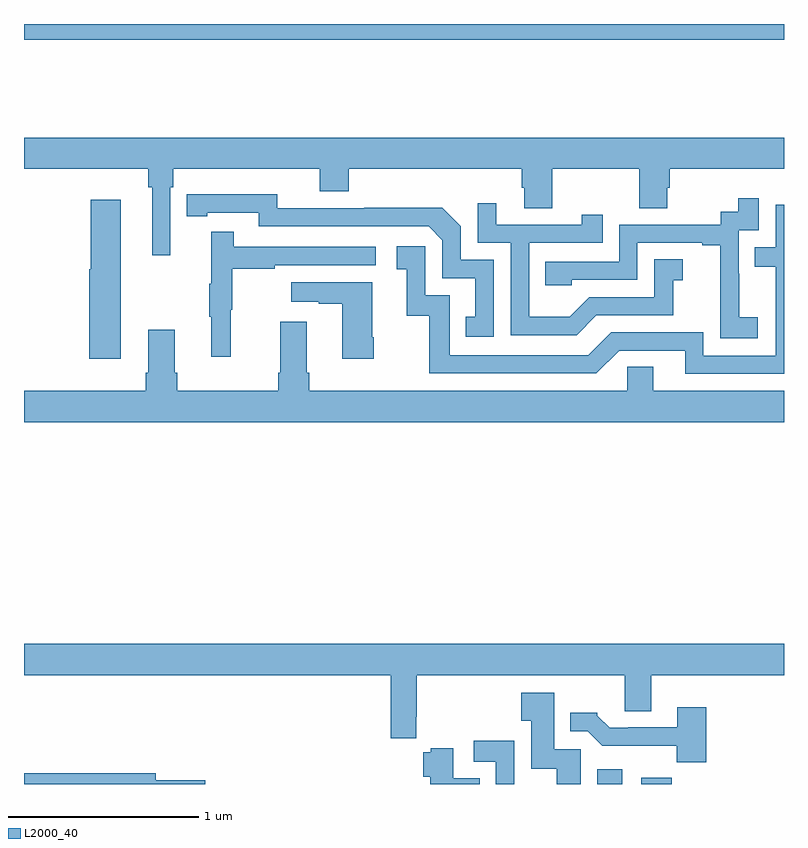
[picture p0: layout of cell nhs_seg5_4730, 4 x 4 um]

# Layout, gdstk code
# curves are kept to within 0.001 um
import gdstk
lib = gdstk.Library(unit=1e-6, precision=1e-09)
def R(c, l, rs):  # rectangles x0, y0, x1, y1
    for r in rs: c.add(gdstk.rectangle(r[:2], r[2:], *l))
def P(c, l, *ps):  # polygons
    for p in ps: c.add(gdstk.Polygon(p, *l))
L2000_40 = (2000, 40)

nhs_seg5_4730 = lib.new_cell('nhs_seg5_4730')
R(nhs_seg5_4730, L2000_40, [(390.017,910.799,390.148,910.876), (390.248,910.799,390.41,910.831), (387,914.716,391,914.799)])
P(nhs_seg5_4730, L2000_40, [(387.771,913.94),(387.785,913.94),(387.785,914.036),(388.556,914.036),(388.556,913.919),(388.709,913.919),(388.709,914.036),(389.621,914.036),(389.621,913.938),(389.633,913.938),(389.633,913.828),(389.781,913.828),(389.781,914.036),(390.238,914.036),(390.238,913.828),(390.385,913.828),(390.385,913.938),(390.398,913.938),(390.398,914.036),(391,914.036),(391,914.2),(387,914.2),(387,914.036),(387.655,914.036),(387.655,913.94),(387.674,913.94),(387.674,913.581),(387.771,913.581)],
  [(389.472,913.557),(389.298,913.557),(389.298,913.734),(389.2,913.832),(388.792,913.832),(388.792,913.83),(388.332,913.83),(388.332,913.903),(387.856,913.902),(387.856,913.786),(387.964,913.786),(387.964,913.806),(388.236,913.806),(388.236,913.734),(389.13,913.734),(389.202,913.662),(389.202,913.461),(389.375,913.461),(389.375,913.257),(389.326,913.257),(389.326,913.152),(389.472,913.152)],
  [(390.862,913.255),(390.764,913.255),(390.764,913.484),(390.762,913.484),(390.762,913.713),(390.867,913.713),(390.867,913.882),(390.759,913.882),(390.759,913.812),(390.666,913.812),(390.666,913.743),(390.132,913.743),(390.132,913.548),(389.743,913.548),(389.743,913.425),(389.883,913.425),(389.883,913.452),(390.228,913.452),(390.228,913.647),(390.569,913.647),(390.569,913.635),(390.665,913.635),(390.665,913.351),(390.664,913.351),(390.664,913.145),(390.862,913.145)],
  [(387.508,913.873),(387.35,913.873),(387.35,913.509),(387.344,913.509),(387.344,913.038),(387.508,913.038)],
  [(390.013,913.266),(390.417,913.266),(390.417,913.451),(390.466,913.451),(390.466,913.561),(390.318,913.561),(390.318,913.362),(389.976,913.362),(389.872,913.258),(389.658,913.258),(389.658,913.647),(390.047,913.647),(390.047,913.795),(389.936,913.795),(389.936,913.743),(389.485,913.743),(389.485,913.855),(389.388,913.855),(389.388,913.647),(389.562,913.647),(389.562,913.161),(389.908,913.161)],
  [(391,913.848),(390.957,913.848),(390.957,913.623),(390.847,913.623),(390.847,913.522),(390.957,913.522),(390.957,913.053),(390.576,913.053),(390.576,913.176),(390.09,913.176),(389.97,913.056),(389.241,913.056),(389.241,913.371),(389.112,913.371),(389.112,913.63),(388.962,913.63),(388.962,913.509),(389.015,913.509),(389.015,913.263),(389.133,913.263),(389.133,912.96),(390.012,912.96),(390.132,913.08),(390.479,913.08),(390.479,912.957),(391,912.957)],
  [(388.088,913.296),(388.096,913.296),(388.096,913.51),(388.319,913.51),(388.319,913.53),(388.852,913.53),(388.852,913.626),(388.103,913.626),(388.103,913.705),(387.986,913.705),(387.986,913.433),(387.975,913.433),(387.975,913.259),(387.986,913.259),(387.986,913.047),(388.088,913.047)],
  [(388.842,913.15),(388.834,913.15),(388.834,913.441),(388.407,913.441),(388.407,913.337),(388.55,913.337),(388.55,913.327),(388.676,913.327),(388.676,913.038),(388.842,913.038)],
  [(391,912.868),(390.313,912.868),(390.313,912.995),(390.174,912.995),(390.174,912.868),(388.502,912.868),(388.502,912.964),(388.489,912.964),(388.489,913.231),(388.349,913.231),(388.349,912.964),(388.337,912.964),(388.337,912.868),(387.806,912.868),(387.806,912.964),(387.793,912.964),(387.793,913.189),(387.653,913.189),(387.653,912.964),(387.641,912.964),(387.641,912.868),(387,912.868),(387,912.704),(391,912.704)],
  [(389.065,911.152),(389.066,911.152),(389.066,911.372),(390.161,911.372),(390.161,911.182),(390.301,911.182),(390.301,911.372),(391,911.372),(391,911.536),(387,911.536),(387,911.372),(388.93,911.372),(388.93,911.04),(389.065,911.04)],
  [(389.929,910.983),(389.791,910.983),(389.791,911.278),(389.618,911.278),(389.618,911.131),(389.669,911.131),(389.669,910.88),(389.804,910.88),(389.804,910.799),(389.929,910.799)],
  [(390.59,911.203),(390.437,911.203),(390.437,911.097),(390.181,911.097),(390.181,911.094),(390.082,911.094),(390.018,911.158),(390.018,911.173),(389.876,911.173),(389.876,911.076),(389.967,911.076),(390.043,911),(390.435,911),(390.435,910.913),(390.59,910.913)],
  [(389.58,911.026),(389.367,911.026),(389.367,910.917),(389.484,910.917),(389.484,910.799),(389.58,910.799)],
  [(389.399,910.828),(389.26,910.828),(389.26,910.986),(389.142,910.986),(389.142,910.966),(389.1,910.966),(389.1,910.838),(389.138,910.838),(389.138,910.799),(389.399,910.799)],
  [(387.955,910.82),(387.694,910.82),(387.694,910.856),(387,910.856),(387,910.799),(387.955,910.799)])

lib.write_gds('nhs_seg5_4730.gds')
